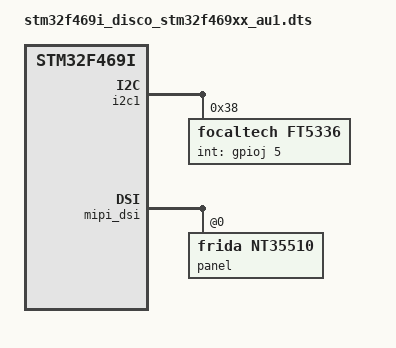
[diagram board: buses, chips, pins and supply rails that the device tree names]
/*
 * Copyright (c) 2026 Mithilesh Konakanchi
 *
 * SPDX-License-Identifier: Apache-2.0
 */

/dts-v1/;
#include "stm32f469i_disco_common.dtsi"

&i2c1 {
	ft5336: ft5336@38 {
		compatible = "focaltech,ft5336";
		reg = <0x38>;
		int-gpios = <&gpioj 5 0>;
		inverted-y;
		screen-width = <800>;
		screen-height = <480>;
		status = "okay";
	};
};

&mipi_dsi {
	/delete-property/ vs-active-high;
	/delete-property/ hs-active-high;

	panel: panel@0 {
		compatible = "frida,nt35510";
	};
};

&ltdc {
	/* frida, nt35510 */
	display-timings {
		vsync-len = <120>;
		vback-porch = <150>;
		vfront-porch = <150>;
	};
};
